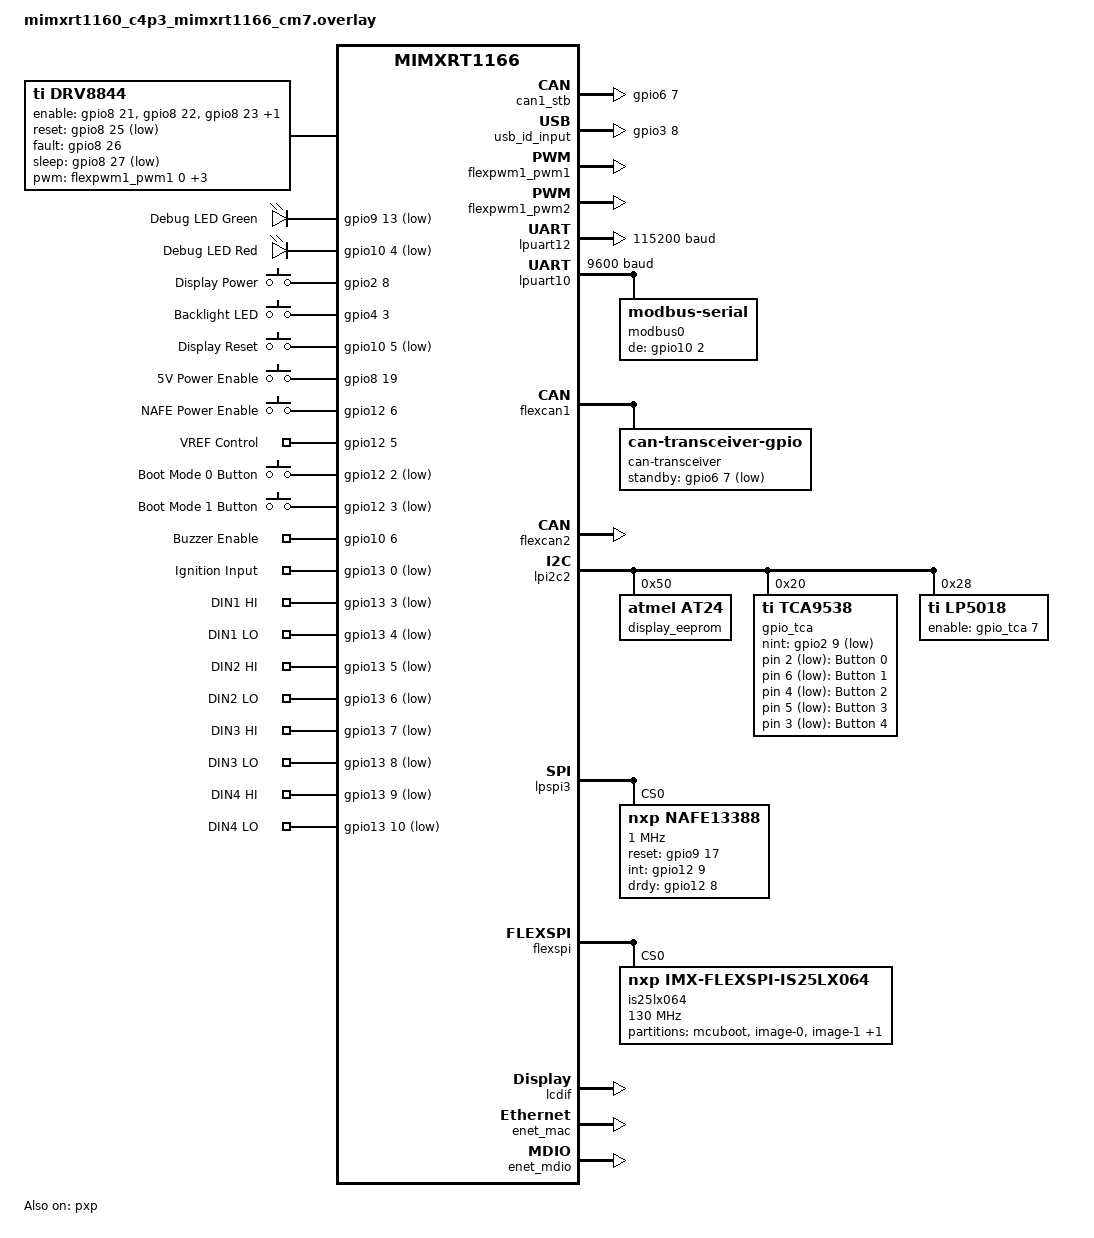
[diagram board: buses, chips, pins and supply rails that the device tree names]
#include <zephyr/dt-bindings/display/panel.h>
#include <zephyr/dt-bindings/led/led.h>

/delete-node/ &green_led;
/delete-node/ &fxos8700;

/******************************************************************************/
/ {
    chosen {
        zephyr,flash-controller = &is25lx064;
        zephyr,flash = &is25lx064;
        zephyr,console = &lpuart12;
        zephyr,shell-uart = &lpuart12;
        zephyr,uart-mcumgr = &lpuart12;
        zephyr,sram = &sdram0;
        zephyr,display = &lcdif;
        zephyr,canbus = &flexcan1;


    };

    aliases {
        debug-uart = &lpuart12;
        led-green = &green_debug_led;
        led-red = &red_debug_led;

        drv8844 = &drv8844;
        modbus = &modbus0;
        i2c = &lpi2c2;

        button-led-driver = &lp5018;
        gpio-expander = &gpio_tca;

        power-tft-en = &display_power;
        backlight-led-en = &bkled;
        display-reset = &display_reset;
        power-5v-en = &power_5v_enable;
        nafe-pwr-en = &nafe_pwr_en;
        can1-stb = &can1_stb;
        vref-ctrl = &vref_ctrl;
        bm0-btn = &bm0_button;
        bm1-btn = &bm1_button;
        buzzer-en = &buzzer_en;
        
        board-button-0 = &board_button_0;
        board-button-1 = &board_button_1;
        board-button-2 = &board_button_2;
        board-button-3 = &board_button_3;
        board-button-4 = &board_button_4;

        usb-id-input = &usb_id_input;

        ignition-input = &ignition_input;

        digital-in-1-hi = &digital_in_1_hi;
        digital-in-1-low = &digital_in_1_low;
        digital-in-2-hi = &digital_in_2_hi;
        digital-in-2-low = &digital_in_2_low;
        digital-in-3-hi = &digital_in_3_hi;
        digital-in-3-low = &digital_in_3_low;
        digital-in-4-hi = &digital_in_4_hi;
        digital-in-4-low = &digital_in_4_low;       
        digital-in-port = &gpio13;

        canbus-nmea = &flexcan2;     
        
        /delete-property/ led0;
        /delete-property/ sw0;
        /delete-property/ magn0;
        /delete-property/ accel0;
        /delete-property/ mcuboot-button0;
        /delete-property/ sdhc0;
    };

    /delete-node/ led0;
    /delete-node/ sw0;  

    /******************************************************************************/
    /* DRV8844 */
    /******************************************************************************/
    drv8844: drv8844 {
		status = "okay";
		compatible = "ti,drv8844";   
        
		/* Two pairs of complementary PWM outputs, all set to 50 KHz */
		pwms = <&flexpwm1_pwm1 0 PWM_USEC(20) PWM_POLARITY_NORMAL>, 
		       <&flexpwm1_pwm1 1 PWM_USEC(20) PWM_POLARITY_NORMAL>, 
		       <&flexpwm1_pwm2 0 PWM_USEC(20) PWM_POLARITY_NORMAL>, 
		       <&flexpwm1_pwm2 1 PWM_USEC(20) PWM_POLARITY_NORMAL>;   

		enable-gpios = <&gpio8 21 GPIO_ACTIVE_HIGH>,    
		               <&gpio8 22 GPIO_ACTIVE_HIGH>,     
		               <&gpio8 23 GPIO_ACTIVE_HIGH>,     
		               <&gpio8 24 GPIO_ACTIVE_HIGH>;     

		reset-gpios = <&gpio8 25 GPIO_ACTIVE_LOW>;       
		fault-gpios = <&gpio8 26 GPIO_ACTIVE_HIGH>;       
        sleep-gpios = <&gpio8 27 GPIO_ACTIVE_LOW>;       
	};          

    /******************************************************************************/
    /* LEDs */
    /******************************************************************************/
    leds {
        green_debug_led: led-2 {
            gpios = <&gpio9 13 GPIO_ACTIVE_LOW>;    
            label = "Debug LED Green";
        };

        red_debug_led: led-3 {
            gpios = <&gpio10 4 GPIO_ACTIVE_LOW>;     
            label = "Debug LED Red";
        };
    };

    /******************************************************************************/
    /* GPIOs */
    /******************************************************************************/

    gpio_keys {
        display_power: display_power {
            label = "Display Power";
            gpios = <&gpio2 8 GPIO_ACTIVE_HIGH>;
            status = "okay";
        };

        bkled: bkled {
            label = "Backlight LED";
            gpios = <&gpio4 3 GPIO_ACTIVE_HIGH>;
            status = "okay";
        };

        display_reset: display_reset {
            label = "Display Reset";
            gpios = <&gpio10 5 GPIO_ACTIVE_LOW>;
            status = "okay";            
        };

        power_5v_enable: power_5v_enable {
            label = "5V Power Enable";
            gpios = <&gpio8 19 GPIO_ACTIVE_HIGH>;
            status = "okay";            
        };

        nafe_pwr_en: nafe_pwr_en {
            label = "NAFE Power Enable";
            gpios = <&gpio12 6 GPIO_ACTIVE_HIGH>;
            status = "okay";               
        };

        can1_stb: can1_stb {
            label = "CAN1 Transceiver STB";
            gpios = <&gpio6 7 GPIO_ACTIVE_LOW>;
            status = "okay";                 
        };

        vref_ctrl: vref_ctrl {
            label = "VREF Control";
            gpios = <&gpio12 5 GPIO_ACTIVE_HIGH>;
            status = "okay";                 
        };

        bm0_button: bm0_button {
            label = "Boot Mode 0 Button";
            gpios = <&gpio12 2 GPIO_ACTIVE_LOW>;
            status = "okay";               
        };

        bm1_button: bm1_button {
            label = "Boot Mode 1 Button";
            gpios = <&gpio12 3 GPIO_ACTIVE_LOW>;
            status = "okay";               
        };      
        
        buzzer_en: buzzer_en {
            label = "Buzzer Enable";
            gpios = <&gpio10 6 GPIO_ACTIVE_HIGH>;
            status = "okay";              
        };

        /* Button board */
        board_button_0: board_button_0 {
            label = "Button 0";
            gpios = <&gpio_tca 2 GPIO_ACTIVE_LOW>;
            status = "okay";              
        };

        board_button_1: board_button_1 {
            label = "Button 1";
            gpios = <&gpio_tca 6 GPIO_ACTIVE_LOW>;
            status = "okay";              
        };

        board_button_2: board_button_2 {
            label = "Button 2";
            gpios = <&gpio_tca 4 GPIO_ACTIVE_LOW>;
            status = "okay";              
        };

        board_button_3: board_button_3 {
            label = "Button 3";
            gpios = <&gpio_tca 5 GPIO_ACTIVE_LOW>;
            status = "okay";              
        };

        board_button_4: board_button_4 {
            label = "Button 4";
            gpios = <&gpio_tca 3 GPIO_ACTIVE_LOW>;
            status = "okay";              
        };

        /* USB ID input - connected to FUSB interrupt line */
        usb_id_input: usb_id_input {
            label = "USB ID Input";
            gpios = <&gpio3 8 GPIO_ACTIVE_LOW>;
            status = "okay";     
        };
        
        /* Digital input pins  in the SNVS domain */
        ignition_input: ignition_input {
            label = "Ignition Input";
            gpios = <&gpio13 0 GPIO_ACTIVE_LOW>;
            status = "okay";     
        };   
                
        digital_in_1_hi: digital_in_1_hi {
            label = "DIN1 HI";
            gpios = <&gpio13 3 GPIO_ACTIVE_LOW>;
            status = "okay";     
        };   
        
        digital_in_1_low: digital_in_1_low {
            label = "DIN1 LO";
            gpios = <&gpio13 4 GPIO_ACTIVE_LOW>;
            status = "okay";     
        };     
        
        digital_in_2_hi: digital_in_2_hi {
            label = "DIN2 HI";
            gpios = <&gpio13 5 GPIO_ACTIVE_LOW>;
            status = "okay";     
        };   
        
        digital_in_2_low: digital_in_2_low {
            label = "DIN2 LO";
            gpios = <&gpio13 6 GPIO_ACTIVE_LOW>;
            status = "okay";     
        };   

        digital_in_3_hi: digital_in_3_hi {
            label = "DIN3 HI";
            gpios = <&gpio13 7 GPIO_ACTIVE_LOW>;
            status = "okay";     
        };   
        
        digital_in_3_low: digital_in_3_low {
            label = "DIN3 LO";
            gpios = <&gpio13 8 GPIO_ACTIVE_LOW>;
            status = "okay";     
        };   

        digital_in_4_hi: digital_in_4_hi {
            label = "DIN4 HI";
            gpios = <&gpio13 9 GPIO_ACTIVE_LOW>;
            status = "okay";     
        };   
        
        digital_in_4_low: digital_in_4_low {
            label = "DIN4 LO";
            gpios = <&gpio13 10 GPIO_ACTIVE_LOW>;
            status = "okay";     
        };   

    };

};


/******************************************************************************/
/* ENABLE FLEXPWM1 PWM1/PWM2 */
/******************************************************************************/
/* Add new subnode to pinctrl, pin A - GPIO_AD_02, pin B - GPIO_AD_03 */
&pinctrl {
    pinmux_flexpwm1_pwm1: pinmux_flexpwm1_pwm1 {
        group0 {
            pinmux = <&iomuxc_gpio_ad_02_flexpwm1_pwm1_a>,
                     <&iomuxc_gpio_ad_03_flexpwm1_pwm1_b>;
            drive-strength = "high";
            bias-pull-down;
            slew-rate = "fast";
        };
        
    };

    pinmux_flexpwm1_pwm2: pinmux_flexpwm1_pwm2 {
        group0 {                     
            pinmux = <&iomuxc_gpio_ad_04_flexpwm1_pwm2_a>,
                     <&iomuxc_gpio_ad_05_flexpwm1_pwm2_b>;
            drive-strength = "high";
            bias-pull-down;
            slew-rate = "fast";
        };
    };    
};

/* Enable PWM1-1 and PWM1-2 using the newly created pinmux  */
&flexpwm1_pwm1 {
    status = "okay";
    pinctrl-0 = <&pinmux_flexpwm1_pwm1>;
    pinctrl-names = "default";
};

&flexpwm1_pwm2 {
    status = "okay";
    pinctrl-0 = <&pinmux_flexpwm1_pwm2>;
    pinctrl-names = "default";
};

/******************************************************************************/
/* DISABLE CAN3 - NOT USED */
/* Note - on the EVK board, there's a CAN transceiver soldered to LPUART's RX
and TX pins, which means it cannot be used. */
/******************************************************************************/
&flexcan3 {
    status = "disabled";
};

/******************************************************************************/
/* DEBUG UART IS LPUART12 - CAN'T BE USED WITH EVK */
/******************************************************************************/
&lpuart12 {
	status = "okay";
	current-speed = <115200>;
	pinctrl-0 = <&pinmux_lpuart12>;
	pinctrl-names = "default";     
};

/* Add subnode pinmux for lpuart12 */
&pinctrl {
    pinmux_lpuart12: pinmux_lpuart12 {
		group0 {
			pinmux = <&iomuxc_lpsr_gpio_lpsr_01_lpuart12_rx>,
				<&iomuxc_lpsr_gpio_lpsr_00_lpuart12_tx>;
			drive-strength = "high";
			slew-rate = "fast";
		};
	};
};

&lpuart1 {
    status = "disabled";
};

/******************************************************************************/
/* RS485 on LPUART12 */
/******************************************************************************/
&lpuart10 {
    status = "okay";
    current-speed = <9600>;
	pinctrl-0 = <&pinmux_lpuart10>;
	pinctrl-names = "default";      

    modbus0: modbus0 {
        compatible = "zephyr,modbus-serial";
        status = "okay";
        de-gpios = <&gpio10 2 GPIO_ACTIVE_HIGH>;	/* NOT TESTED */
    };       
};

/* Add subnode pinmux for lpuart12 */
&pinctrl {
    pinmux_lpuart10: pinmux_lpuart10 {
		group0 {
			pinmux = <&iomuxc_gpio_ad_16_lpuart10_rx>,
				<&iomuxc_gpio_ad_15_lpuart10_tx>;
			drive-strength = "high";
			slew-rate = "fast";
		};
	};
};


/******************************************************************************/
/* CANBUS */
/******************************************************************************/
&pinctrl {
    pinmux_can2: pinmux_can2 {
		group0 {
			pinmux = <&iomuxc_gpio_ad_01_can2_rx>,
				<&iomuxc_gpio_ad_00_can2_tx>;
			drive-strength = "high";
			slew-rate = "fast";
		};
	};

    pinmux_can1: pinmux_can1 {
		group0 {
			pinmux = <&iomuxc_gpio_ad_07_can1_rx>,
				<&iomuxc_gpio_ad_06_can1_tx>;
			drive-strength = "high";
			slew-rate = "fast";
		};
	};    
};

/* CANFD 
Standby pin low - normal operation, high: standby. It has external pull-up
*/
&flexcan1 {
    status = "okay";
	pinctrl-0 = <&pinmux_can1>;
	pinctrl-names = "default";    
    can-transceiver {
        compatible = "can-transceiver-gpio";
        max-bitrate = < 1000000 >;
        standby-gpios = <&gpio6 7 GPIO_ACTIVE_LOW>; /* Standby pin controlled by driver */
        #phy-cells = <0>;
    };          
};

/* NMEA2000 */
&flexcan2 {
    status = "okay";
	pinctrl-0 = <&pinmux_can2>;
	pinctrl-names = "default";    
    can-transceiver {
        max-bitrate = < 250000 >;
    };          
};

/******************************************************************************/
/* I2C */
/******************************************************************************/
&lpi2c2 {
    status = "okay";
    pinctrl-0 = <&pinmux_lpi2c2>;
    pinctrl-names = "default";

    /* Display EEPROM. Not sure about the chip; not tested */
    display_eeprom: eeprom@50 {
        compatible = "atmel,at24";
        status = "okay";
        reg = <0x50>;
        size = <1024>;
        pagesize = <32>;
        address-width = <8>;
        timeout = <5>;
    };

    /* TCA6408 I2C GPIO Expander on button board. It 'may' work with tca9538 driver,
    needs testing */
    gpio_tca: tca6408@20 {
        compatible = "ti,tca9538";
        status = "okay";
        reg = <0x20>;
        ngpios = <0x8>;
        #gpio-cells = <0x2>;
        gpio-controller;
        nint-gpios = <&gpio2 9 GPIO_ACTIVE_LOW>; 
    };

    /* LED driver on button board */
    lp5018: lp5018@28 {
        compatible = "ti,lp5018";
        status = "okay";
        reg = <0x28>;  
        enable-gpios = <&gpio_tca 7 GPIO_ACTIVE_HIGH>;      

		btn_led_0 {
			label = "Button 0 LED";
			index = <0>;
			color-mapping =
				<LED_COLOR_ID_RED>,
				<LED_COLOR_ID_GREEN>,
				<LED_COLOR_ID_BLUE>;
		};
		btn_led_1 {
			label = "Button 1 LED";
			index = <1>;
			color-mapping =
				<LED_COLOR_ID_RED>,
				<LED_COLOR_ID_GREEN>,
				<LED_COLOR_ID_BLUE>;
		};
		btn_led_2 {
			label = "Button 2 LED";
			index = <2>;
			color-mapping =
				<LED_COLOR_ID_RED>,
				<LED_COLOR_ID_GREEN>,
				<LED_COLOR_ID_BLUE>;
		};
		btn_led_3 {
			label = "Button 3 LED";
			index = <3>;
			color-mapping =
				<LED_COLOR_ID_RED>,
				<LED_COLOR_ID_GREEN>,
				<LED_COLOR_ID_BLUE>;
		};
		btn_led_4 {
			label = "Button 4 LED";
			index = <4>;
			color-mapping =
				<LED_COLOR_ID_RED>,
				<LED_COLOR_ID_GREEN>,
				<LED_COLOR_ID_BLUE>;
		};
    };
};

&lpi2c5 {
    status = "disabled";
};

&lpi2c3 {
    status = "disabled";
};

&pinctrl {
    pinmux_lpi2c2: pinmux_lpi2c2 {
        group0 {
            pinmux = <&iomuxc_gpio_emc_b2_00_lpi2c2_scl>,
                     <&iomuxc_gpio_emc_b2_01_lpi2c2_sda>;
            drive-strength = "normal";
            drive-open-drain;
            slew-rate = "fast";
            input-enable;
        };
    };
};

&lpi2c1 {
    status = "disabled";
};

/******************************************************************************/
/* NAFE ON LPSPI3 */
/******************************************************************************/

&pinctrl {
	pinmux_lpspi3: pinmux_lpspi3 {
		group0 {
			pinmux = <&iomuxc_gpio_emc_b2_05_lpspi3_pcs0>,
				<&iomuxc_gpio_emc_b2_04_lpspi3_sck>,
				<&iomuxc_gpio_emc_b2_07_lpspi3_sdi>,
				<&iomuxc_gpio_emc_b2_06_lpspi3_sdo>;
			drive-strength = "high";
			slew-rate = "fast";
		};
	};
};

&lpspi3 {
    status = "okay";
    pinctrl-0 = <&pinmux_lpspi3>;
    pinctrl-names = "default";

    /* NAFE should not be initialized by Zephyr, as it is manually powered
    by the application */
    nafe13388: nafe13388@0 {
        status = "okay";
        zephyr,deferred-init;

        compatible = "nxp,nafe13388";
        reset-gpios = <&gpio9 17 GPIO_ACTIVE_HIGH>;
        int-gpios = <&gpio12 9 GPIO_ACTIVE_HIGH>;
        drdy-gpios = <&gpio12 8 GPIO_ACTIVE_HIGH>;
        spi-addr = <0>;

        // SPI specific properties
        reg = <0>;    // The chip select
        spi-max-frequency = <1000000>; 
    };
};

&lpspi1 {
    status = "disabled";
};


/******************************************************************************/
/* OCTAL FLASH NODE ON FLEXSPI - ISSI IS25LX064-JHLE 64 Mbit / 8 MByte */
/******************************************************************************/
&flexspi {
    /* Get rid of quad flash node on flexspi */
    /delete-node/ is25wp128@0;

    /* Add octal flash node to flexspi. Node copied from  EVK's config; driver in drivers/ folder is a verbatim
    copy of mx25um51345g driver */
    /* If things fail, search for 'is25lx064' in dts.cmake - check assigned properties */
    is25lx064: is25lx064@0 {
        compatible = "nxp,imx-flexspi-is25lx064";
        size = <DT_SIZE_M(8 * 8)>;
        reg = <0>;
        spi-max-frequency = <130000000>;
        status = "okay";
        jedec-id = [ 9d 5a 17 ];
        erase-block-size = <4096>;
        write-block-size = <2>; /* FLASH_MCUX_FLEXSPI_IS25LX064_OPI_DTR set */

        partitions {
            compatible = "fixed-partitions";
            #address-cells = <1>;
            #size-cells = <1>;

            boot_partition: partition@0 {
                label = "mcuboot";
                reg = <0x00000000 DT_SIZE_K(128)>;
            };
            /* The MCUBoot swap-move algorithm uses the last 3 sectors
             * of the primary slot0 for swap status and move.
             */
            slot0_partition: partition@20000 {
                label = "image-0";
                reg = <0x00020000 (DT_SIZE_M(3) + DT_SIZE_K(3 * 4))>; 
            };
            slot1_partition: partition@323000 {
                label = "image-1";
                reg = <0x00323000 DT_SIZE_M(3)>;
            };
            storage_partition: partition@623000 {
                label = "storage";
                reg = <0x00623000 (DT_SIZE_M(2) - DT_SIZE_K(140))>;
            };
        };
    };    
};

/******************************************************************************/
/* SDRAM - 32 MB */
/******************************************************************************/
&sdram0 {
    status = "okay";
    device_type = "memory";
    reg = <0x80000000 DT_SIZE_M(32)>;  
};

/******************************************************************************/
/* ARM PLL - PROCESSOR ***CVM5A RUNS ON 500 MHz MAX */
/* If you change ARM PLL to a value different than 300 MHz, remember to
update SYS_CLOCK_HW_CYCLES_PER_SEC */
/******************************************************************************/
&arm_pll {
	clock-mult = <82>;
	clock-div = <4>;
    // ARM PLL clock = (24 MHz * clock-mult) / clock-div
    // To set clock at 492 MHz, set clock-mult to 82 and clock-div to 4
    // To set clock at 300 MHz, set clock-mult to 100 and clock-div to 8
};

/******************************************************************************/
/* ELCFIF */
/******************************************************************************/
&lcdif {
	status = "okay";
	width = <480>;
	height = <272>;
    pinctrl-0 = < &pinmux_lcdif >;
    pinctrl-names = "default";

	display-timings {
		compatible = "zephyr,panel-timing";

		hsync-len = <41>;
		hfront-porch = <2>;
		hback-porch = <2>;

		vsync-len = <10>;
		vfront-porch = <2>;
		vback-porch = <2>;

		de-active= <1>;

		pixelclk-active = <0>;
		hsync-active = <1>;
		vsync-active = <1>;

        clock-frequency = <12000000>;
	};

    pixel-format = <PANEL_PIXEL_FORMAT_ARGB_8888>;    
	data-bus-width = "24-bit";
    backlight-gpios = < &gpio4 0x3 0x0 >;
};

&pinmux_lcdif {
    group0 {
        pinmux = 
            <&iomuxc_gpio_disp_b1_00_video_mux_lcdif_clk>,
            <&iomuxc_gpio_disp_b1_01_video_mux_lcdif_enable>,
            <&iomuxc_gpio_disp_b1_02_video_mux_lcdif_hsync>,
            <&iomuxc_gpio_disp_b1_03_video_mux_lcdif_vsync>,
            <&iomuxc_gpio_disp_b1_04_video_mux_lcdif_data00>,
            <&iomuxc_gpio_disp_b1_05_video_mux_lcdif_data01>,
            <&iomuxc_gpio_disp_b1_06_video_mux_lcdif_data02>,
            <&iomuxc_gpio_disp_b1_07_video_mux_lcdif_data03>,
            <&iomuxc_gpio_disp_b1_08_video_mux_lcdif_data04>,
            <&iomuxc_gpio_disp_b1_09_video_mux_lcdif_data05>,
            <&iomuxc_gpio_disp_b1_10_video_mux_lcdif_data06>,
            <&iomuxc_gpio_disp_b1_11_video_mux_lcdif_data07>,
            <&iomuxc_gpio_disp_b2_00_video_mux_lcdif_data08>,
            <&iomuxc_gpio_disp_b2_01_video_mux_lcdif_data09>,
            <&iomuxc_gpio_disp_b2_02_video_mux_lcdif_data10>,
            <&iomuxc_gpio_disp_b2_03_video_mux_lcdif_data11>,
            <&iomuxc_gpio_disp_b2_04_video_mux_lcdif_data12>,
            <&iomuxc_gpio_disp_b2_05_video_mux_lcdif_data13>,
            <&iomuxc_gpio_disp_b2_06_video_mux_lcdif_data14>,
            <&iomuxc_gpio_disp_b2_07_video_mux_lcdif_data15>,
            <&iomuxc_gpio_disp_b2_08_video_mux_lcdif_data16>,
            <&iomuxc_gpio_disp_b2_09_video_mux_lcdif_data17>,
            <&iomuxc_gpio_disp_b2_10_video_mux_lcdif_data18>,
            <&iomuxc_gpio_disp_b2_11_video_mux_lcdif_data19>,
            <&iomuxc_gpio_disp_b2_12_video_mux_lcdif_data20>,
            <&iomuxc_gpio_disp_b2_13_video_mux_lcdif_data21>,
            <&iomuxc_gpio_disp_b2_14_video_mux_lcdif_data22>,
            <&iomuxc_gpio_disp_b2_15_video_mux_lcdif_data23>;
			bias-pull-down;
			slew-rate = "slow";
        };
        /delete-node/ group1;
};

&pxp {
    status = "okay";
};

/******************************************************************************/
/* ETHERNET */
/******************************************************************************/

&pinmux_enet {
    group0 {
        pinmux = <&iomuxc_gpio_ad_13_gpio9_io12>,
            <&iomuxc_gpio_ad_24_enet_rx_en>,		
            <&iomuxc_gpio_ad_25_enet_rx_er>;		
        drive-strength = "high";
        bias-pull-down;
        slew-rate = "fast";
    };
    group1 {
        pinmux = <&iomuxc_gpio_ad_26_enet_rdata00>,	
            <&iomuxc_gpio_ad_27_enet_rdata01>;		
        drive-strength = "high";
        bias-pull-down;
        slew-rate = "fast";
        input-enable;
    };
    group2 {
        pinmux = <&iomuxc_lpsr_gpio_lpsr_04_gpio12_io04>;
        drive-strength = "high";
        bias-pull-up;
        slew-rate = "fast";
    };
    group3 {
        pinmux = <&iomuxc_gpio_ad_30_enet_tdata00>,	
            <&iomuxc_gpio_ad_31_enet_tdata01>,		
            <&iomuxc_gpio_ad_28_enet_tx_en>;		
        drive-strength = "high";
        slew-rate = "fast";
    };
    group4 {
        pinmux = <&iomuxc_gpio_ad_29_enet_ref_clk>;	
        drive-strength = "high";
        slew-rate = "slow";
        input-enable;
    };
};

&enet_mac {
    status = "okay";
    /delete-property/ zephyr,random-mac-address;
    local-mac-address = [02 04 9F B0 0B 55];  // Fixed MAC Address. Note that unique MAC address results in last three bytes being zeroes
    // Attempting to read hardware ID with hwinfo_get_device_eui64() returns zeroes
    // Fused mac results in DA:00:00:00:DA:00
};

&enet_mdio {
    status = "okay";
};

&enet_ptp_clock {
    status = "okay";
};

&phy {
    int-gpios = < &gpio9 17 0x0 >;
    reset-gpios = <&gpio9 18 0x0 >;
    microchip,interface-type = "rmii-25MHz";
};
